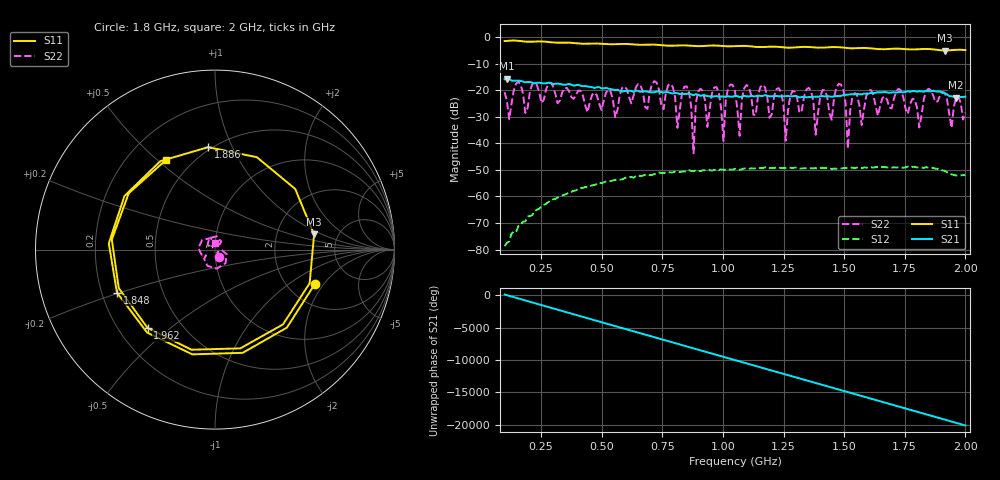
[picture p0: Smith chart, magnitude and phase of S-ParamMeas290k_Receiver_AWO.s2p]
!Keysight Technologies,N5242B,MY48420967,A.15.65.19
!Date: Saturday, February 04, 2023 18:24:30
!Correction: S11(C  1-Port  )
!S21(Off)
!S12(Off)
!S22(Off)
!S2P File: Measurements: S11, S21, S12, S22:
# Hz S  dB  R 50
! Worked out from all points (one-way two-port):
!   201 points, 100 MHz to 2 GHz, reference 50 ohm
!   highest |S21| = -15.66 dB at 109.5 MHz (marker M1); lowest = -22.8 dB at 1.962 GHz (marker M2)
!   lowest |S11| = -5.1 dB at 1.915 GHz (marker M3), VSWR 3.53, Z = 166 + j40.6 ohm
!   |S11| at or under -10 dB: nowhere
!   |S22| runs from -43.7 to -16.6 dB; largest |S21 - S12| = 0.16
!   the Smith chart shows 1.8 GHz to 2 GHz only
!   S11 on the Smith chart (normalised r, x): 1.8 GHz: 2.78, -1.64; 1.848 GHz: 0.26, -0.20; 1.886 GHz: 0.48, +0.81; 1.962 GHz: 0.32, -0.42; 2 GHz: 0.36, +0.53
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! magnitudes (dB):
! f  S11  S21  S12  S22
! 100 MHz  -1.5  -15.9  -78.7  -20.8
! 109.5 MHz  -1.4  -15.7  -77.4  -24.1
! 423 MHz  -2.5  -18.5  -56.8  -22.1
! 736.5 MHz  -3.0  -20.5  -51.0  -19.8
! 850.5 MHz  -3.2  -21.4  -50.6  -18.5
! 879 MHz  -3.4  -21.9  -50.5  -43.7
! 898 MHz  -3.4  -21.7  -50.2  -20.6
! 1.002 GHz  -3.4  -22.4  -49.9  -39.1
! 1.05 GHz  -3.4  -22.1  -49.6  -20.4
! 1.069 GHz  -3.3  -22.6  -50.0  -37.2
! 1.097 GHz  -3.4  -22.3  -49.6  -18.1
! 1.373 GHz  -3.9  -22.5  -49.4  -24.2
! 1.487 GHz  -3.9  -22.1  -49.5  -17.8
! 1.516 GHz  -4.1  -21.7  -49.4  -41.9
! 1.544 GHz  -4.2  -21.5  -49.3  -21.1
! 1.687 GHz  -4.4  -21.0  -49.1  -26.5
! 1.8 GHz  -4.6  -20.6  -49.1  -26.6
! 1.848 GHz  -4.5  -20.4  -49.3  -19.4
! 1.886 GHz  -4.9  -20.5  -49.6  -24.2
! 1.915 GHz  -5.1  -21.1  -50.3  -21.0
! 1.962 GHz  -4.8  -22.8  -52.1  -22.9
! 2 GHz  -4.9  -22.4  -52.0  -28.5
